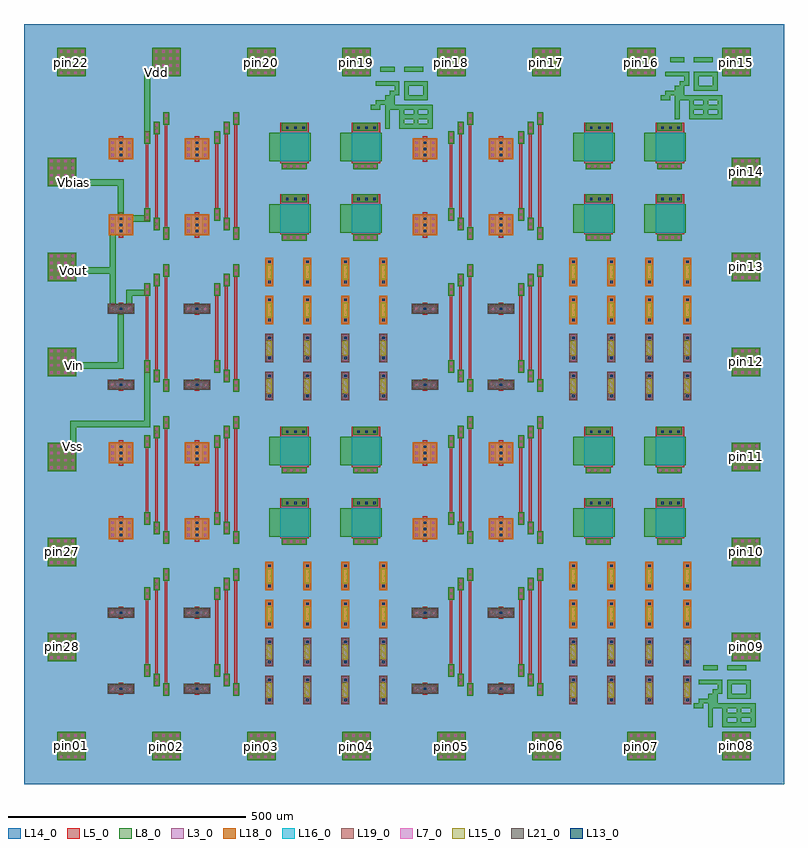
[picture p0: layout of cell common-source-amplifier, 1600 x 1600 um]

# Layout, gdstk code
from math import pi, radians
import gdstk
lib = gdstk.Library(unit=1e-6, precision=1e-09)
def R(c, l, rs):  # rectangles x0, y0, x1, y1
    for r in rs: c.add(gdstk.rectangle(r[:2], r[2:], *l))
def A(c, l, x, y, w, h, nx, ny, dx, dy):  # array of equal rectangles
    R(c, l, [(x+i*dx, y+j*dy, x+i*dx+w, y+j*dy+h) for i in range(nx) for j in range(ny)])
L3_0 = (3, 0)
L5_0 = (5, 0)
L7_0 = (7, 0)
L8_0 = (8, 0)
L13_0 = (13, 0)
L14_0 = (14, 0)
L15_0 = (15, 0)
L16_0 = (16, 0)
L18_0 = (18, 0)
L19_0 = (19, 0)
L21_0 = (21, 0)

c_16_5x5_flame = lib.new_cell('16_5x5_flame')
R(c_16_5x5_flame, L14_0, [(-800,-800,800,800), (-750,-750,750,750)])

dcont = lib.new_cell('dcont')
R(dcont, L3_0, [(-6.5,-6.5,6.5,6.5)])
R(dcont, L7_0, [(-2.5,-2.5,2.5,2.5)])
R(dcont, L8_0, [(-6.5,-6.5,6.5,6.5)])

pcont_min = lib.new_cell('pcont_min')
R(pcont_min, L5_0, [(-4.5,-6.5,4.5,6.5)])
R(pcont_min, L7_0, [(-2.5,-2.5,2.5,2.5)])
R(pcont_min, L8_0, [(-4.5,-6.5,4.5,6.5)])
R(pcont_min, L13_0, [(-2.5,-2.5,2.5,2.5)])

pch_1 = lib.new_cell('Pch$1')
R(pch_1, L3_0, [(0,17,48,57)])
R(pch_1, L18_0, [(-2,15,50,59)])
pch_1.add(gdstk.FlexPath([(6.5,17),(6.5,57)], 13, ends="flush", simple_path=True, layer=8, datatype=0))  # L8_0
pch_1.add(gdstk.FlexPath([(41.5,17),(41.5,57)], 13, ends="flush", simple_path=True, layer=8, datatype=0))  # L8_0
pch_1.add(gdstk.FlexPath([(24,17),(24,57)], 10, ends=(6.5, 6.5), simple_path=True, layer=5, datatype=0))  # L5_0
pch_1.add(gdstk.Reference(dcont, (6.5,24)))
pch_1.add(gdstk.Reference(dcont, (6.5,37)))
pch_1.add(gdstk.Reference(dcont, (6.5,50)))
pch_1.add(gdstk.Reference(dcont, (41.5,24)))
pch_1.add(gdstk.Reference(dcont, (41.5,37)))
pch_1.add(gdstk.Reference(dcont, (41.5,50)))
pch_1.add(gdstk.Reference(pcont_min, (24,24)))
pch_1.add(gdstk.Reference(pcont_min, (24,37)))
pch_1.add(gdstk.Reference(pcont_min, (24,50)))

tin_m1 = lib.new_cell('tin_M1')
R(tin_m1, L5_0, [(-7,-7,6,6)])
R(tin_m1, L7_0, [(-3,-3,2,2)])
R(tin_m1, L8_0, [(-7,-7,6,6)])

v_tin_line3 = lib.new_cell('V_tin_line3')
v_tin_line3.add(gdstk.FlexPath([(-21,74),(-21,-74)], 6, ends="extended", simple_path=True, layer=5, datatype=0))  # L5_0
v_tin_line3.add(gdstk.FlexPath([(-1,94),(-1,-94)], 6, ends="extended", simple_path=True, layer=5, datatype=0))  # L5_0
v_tin_line3.add(gdstk.FlexPath([(19,114),(19,-114)], 6, ends="extended", simple_path=True, layer=5, datatype=0))  # L5_0
r = gdstk.Reference(tin_m1, (-21,74), rotation=pi); r.repetition = gdstk.Repetition(2, 3, v1=(0,13), v2=(20,20)); v_tin_line3.add(r)
r = gdstk.Reference(tin_m1, (-21,-88), rotation=pi); r.repetition = gdstk.Repetition(2, 3, v1=(0,13), v2=(20,-20)); v_tin_line3.add(r)

pmos_array = lib.new_cell('pmos_array')
R(pmos_array, L14_0, [(-160,-160,160,160)])
r = gdstk.Reference(pch_1, (-140,-140)); r.repetition = gdstk.Repetition(2, 2, v1=(160,0), v2=(0,160)); pmos_array.add(r)
pmos_array.add(gdstk.Reference(v_tin_line3, (-40,0)))
pmos_array.add(gdstk.Reference(v_tin_line3, (107,0)))

nch_1 = lib.new_cell('Nch$1')
R(nch_1, L3_0, [(0,18.5,48,28.5)])
R(nch_1, L19_0, [(-2,15,50,32)])
R(nch_1, L21_0, [(-4,13,52,34)])
nch_1.add(gdstk.FlexPath([(6.5,17),(6.5,30)], 13, ends="flush", simple_path=True, layer=8, datatype=0))  # L8_0
nch_1.add(gdstk.FlexPath([(41.5,17),(41.5,30)], 13, ends="flush", simple_path=True, layer=8, datatype=0))  # L8_0
nch_1.add(gdstk.FlexPath([(24,17),(24,30)], 10, ends=(6.5, 6.5), simple_path=True, layer=5, datatype=0))  # L5_0
nch_1.add(gdstk.Reference(dcont, (6.5,23.5)))
nch_1.add(gdstk.Reference(dcont, (41.5,23.5)))
nch_1.add(gdstk.Reference(pcont_min, (24,23.5)))

nmos_array = lib.new_cell('nmos_array')
R(nmos_array, L14_0, [(-160,-160,160,160)])
r = gdstk.Reference(nch_1, (-140,-143)); r.repetition = gdstk.Repetition(2, 2, v1=(160,0), v2=(0,160)); nmos_array.add(r)
nmos_array.add(gdstk.Reference(v_tin_line3, (-40,0)))
nmos_array.add(gdstk.Reference(v_tin_line3, (107,0)))

via = lib.new_cell('Via')
R(via, L8_0, [(-6.5,-6.5,6.5,6.5)])
R(via, L13_0, [(-2.5,-2.5,2.5,2.5)])

r_ndiff = lib.new_cell('R_ndiff')
R(r_ndiff, L19_0, [(-2,-2,15,58)])
r_ndiff.add(gdstk.FlexPath([(6.5,0),(6.5,56)], 10, ends="flush", simple_path=True, layer=3, datatype=0))  # L3_0
r_ndiff.add(gdstk.FlexPath([(6.5,13),(6.5,43)], 10, ends="flush", simple_path=True, layer=15, datatype=0))  # L15_0
r_ndiff.add(gdstk.Reference(dcont, (6.5,6.5), rotation=pi/2))
r_ndiff.add(gdstk.Reference(via, (6.5,6.5)))
r_ndiff.add(gdstk.Reference(dcont, (6.5,49.5), rotation=pi/2))
r_ndiff.add(gdstk.Reference(via, (6.5,49.5)))

r_pdiff_1 = lib.new_cell('R_pdiff$1')
R(r_pdiff_1, L18_0, [(-2,-2,15,58)])
r_pdiff_1.add(gdstk.FlexPath([(6.5,0),(6.5,56)], 10, ends="flush", simple_path=True, layer=3, datatype=0))  # L3_0
r_pdiff_1.add(gdstk.FlexPath([(6.5,13),(6.5,43)], 10, ends="flush", simple_path=True, layer=15, datatype=0))  # L15_0
r_pdiff_1.add(gdstk.Reference(dcont, (6.5,6.5), rotation=pi/2))
r_pdiff_1.add(gdstk.Reference(via, (6.5,6.5)))
r_pdiff_1.add(gdstk.Reference(dcont, (6.5,49.5), rotation=pi/2))
r_pdiff_1.add(gdstk.Reference(via, (6.5,49.5)))

resistor_array = lib.new_cell('resistor_array')
R(resistor_array, L14_0, [(-160,-160,160,160)])
r = gdstk.Reference(r_ndiff, (-130,-150)); r.repetition = gdstk.Repetition(4, 2, v1=(80,0), v2=(0,80)); resistor_array.add(r)
r = gdstk.Reference(r_pdiff_1, (-130,10)); r.repetition = gdstk.Repetition(4, 2, v1=(80,0), v2=(0,80)); resistor_array.add(r)

pcont = lib.new_cell('pcont')
R(pcont, L5_0, [(-6.5,-6.5,6.5,6.5)])
R(pcont, L7_0, [(-2.5,-2.5,2.5,2.5)])
R(pcont, L8_0, [(-6.5,-6.5,6.5,6.5)])
R(pcont, L13_0, [(-2.5,-2.5,2.5,2.5)])

tin_cap = lib.new_cell('TIN_cap')
R(tin_cap, L5_0, [(23.5,-4,83.5,81)])
R(tin_cap, L8_0, [(0,0,87.5,60)])
R(tin_cap, L16_0, [(23.5,0,83.5,60)])
tin_cap.add(gdstk.Reference(pcont, (38.25,70.5)))
tin_cap.add(gdstk.Reference(pcont, (55.25,70.5)))
tin_cap.add(gdstk.Reference(pcont, (72.25,70.5)))

cap_con = lib.new_cell('cap_con')
R(cap_con, L8_0, [(-17,25,35,42)])
r = gdstk.Reference(tin_m1, (28,-50), rotation=pi); r.repetition = gdstk.Repetition(4, 1, v1=(-13,0), v2=(0,0)); cap_con.add(r)
cap_con.add(gdstk.Reference(tin_cap, (-44,-39)))

tin_m1_cap_array = lib.new_cell('tin_m1_cap_array')
R(tin_m1_cap_array, L14_0, [(-160,-160,160,160)])
r = gdstk.Reference(cap_con, (-80,-80)); r.repetition = gdstk.Repetition(2, 2, v1=(150,0), v2=(0,150)); tin_m1_cap_array.add(r)

base_array = lib.new_cell('base_array')
base_array.add(gdstk.Reference(pmos_array, (-160,160)))
base_array.add(gdstk.Reference(nmos_array, (-160,-160)))
base_array.add(gdstk.Reference(resistor_array, (160,-160)))
base_array.add(gdstk.Reference(tin_m1_cap_array, (160,160)))

pad_60_m1_tin = lib.new_cell('pad_60_m1_tin')
R(pad_60_m1_tin, L5_0, [(-30,-30,30,30), (-30,-30,30,30)])
R(pad_60_m1_tin, L8_0, [(-30,-30,30,30)])
r = gdstk.Reference(tin_m1, (22,-23), rotation=pi/2); r.repetition = gdstk.Repetition(4, 4, v1=(0,15), v2=(-15,0)); pad_60_m1_tin.add(r)

common_source_amplifier = lib.new_cell('common-source-amplifier')
A(common_source_amplifier, L8_0, 640, -680, 10, 10, 1, 4, 0, 20)
A(common_source_amplifier, L8_0, 670, -680, 10, 10, 7, 2, 10, 20)
A(common_source_amplifier, L8_0, 640, -670, 10, 10, 4, 2, 30, 20)
A(common_source_amplifier, L8_0, 640, -640, 10, 10, 10, 1, 10, 0)
A(common_source_amplifier, L8_0, 620, -630, 10, 10, 4, 1, 10, 0)
A(common_source_amplifier, L8_0, 680, -620, 10, 10, 5, 2, 10, 30)
A(common_source_amplifier, L8_0, 620, -590, 10, 10, 3, 1, 10, 0)
A(common_source_amplifier, L8_0, 640, -590, 10, 10, 3, 1, 10, 0)
A(common_source_amplifier, L8_0, 630, -560, 10, 10, 3, 1, 10, 0)
A(common_source_amplifier, L8_0, 680, -560, 10, 10, 4, 1, 10, 0)
A(common_source_amplifier, L8_0, -40, 580, 10, 10, 1, 4, 0, 20)
A(common_source_amplifier, L8_0, -10, 580, 10, 10, 7, 2, 10, 20)
A(common_source_amplifier, L8_0, -40, 590, 10, 10, 4, 2, 30, 20)
A(common_source_amplifier, L8_0, -40, 620, 10, 10, 10, 1, 10, 0)
A(common_source_amplifier, L8_0, -60, 630, 10, 10, 4, 1, 10, 0)
A(common_source_amplifier, L8_0, 0, 640, 10, 10, 5, 2, 10, 30)
A(common_source_amplifier, L8_0, -60, 670, 10, 10, 3, 1, 10, 0)
A(common_source_amplifier, L8_0, -40, 670, 10, 10, 3, 1, 10, 0)
A(common_source_amplifier, L8_0, -50, 700, 10, 10, 3, 1, 10, 0)
A(common_source_amplifier, L8_0, 0, 700, 10, 10, 4, 1, 10, 0)
R(common_source_amplifier, L8_0, [(610,-640,620,-630), (620,-640,630,-630), (650,-620,660,-610), (650,-610,660,-600), (660,-610,670,-600), (680,-610,690,-600), (720,-610,730,-600), (660,-600,670,-590), (680,-600,690,-590), (720,-600,730,-590), (570,600,580,610), (570,600,580,610), (600,600,610,610), (600,600,610,610), (610,600,620,610), (610,600,620,610), (620,600,630,610), (620,600,630,610), (630,600,640,610), (630,600,640,610), (640,600,650,610), (640,600,650,610), (650,600,660,610), (650,600,660,610), (660,600,670,610), (660,600,670,610), (570,610,580,620), (570,610,580,620), (600,610,610,620), (600,610,610,620), (630,610,640,620), (630,610,640,620), (660,610,670,620), (660,610,670,620), (-70,620,-60,630), (-60,620,-50,630), (570,620,580,630), (570,620,580,630), (600,620,610,630), (600,620,610,630), (610,620,620,630), (610,620,620,630), (620,620,630,630), (620,620,630,630), (630,620,640,630), (630,620,640,630), (640,620,650,630), (640,620,650,630), (650,620,660,630), (650,620,660,630), (660,620,670,630), (660,620,670,630), (570,630,580,640), (570,630,580,640), (600,630,610,640), (600,630,610,640), (630,630,640,640), (630,630,640,640), (660,630,670,640), (660,630,670,640), (-30,640,-20,650), (540,640,550,650), (540,640,550,650), (550,640,560,650), (550,640,560,650), (570,640,580,650), (570,640,580,650), (570,640,580,650), (570,640,580,650), (580,640,590,650), (580,640,590,650), (590,640,600,650), (590,640,600,650), (600,640,610,650), (600,640,610,650), (610,640,620,650), (610,640,620,650), (620,640,630,650), (620,640,630,650), (630,640,640,650), (630,640,640,650), (640,640,650,650), (640,640,650,650), (650,640,660,650), (650,640,660,650), (660,640,670,650), (660,640,670,650), (-30,650,-20,660), (-20,650,-10,660), (0,650,10,660), (40,650,50,660), (550,650,560,660), (550,650,560,660), (560,650,570,660), (560,650,570,660), (570,650,580,660), (570,650,580,660), (580,650,590,660), (580,650,590,660), (-20,660,-10,670), (0,660,10,670), (40,660,50,670), (570,660,580,670), (570,660,580,670), (580,660,590,670), (580,660,590,670), (610,660,620,670), (610,660,620,670), (620,660,630,670), (620,660,630,670), (630,660,640,670), (630,660,640,670), (640,660,650,670), (640,660,650,670), (650,660,660,670), (650,660,660,670), (580,670,590,680), (580,670,590,680), (590,670,600,680), (590,670,600,680), (610,670,620,680), (610,670,620,680), (650,670,660,680), (650,670,660,680), (590,680,600,690), (590,680,600,690), (610,680,620,690), (610,680,620,690), (650,680,660,690), (650,680,660,690), (550,690,560,700), (550,690,560,700), (560,690,570,700), (560,690,570,700), (570,690,580,700), (570,690,580,700), (570,690,580,700), (570,690,580,700), (580,690,590,700), (580,690,590,700), (590,690,600,700), (590,690,600,700), (610,690,620,700), (610,690,620,700), (620,690,630,700), (620,690,630,700), (630,690,640,700), (630,690,640,700), (640,690,650,700), (640,690,650,700), (650,690,660,700), (650,690,660,700), (560,720,570,730), (560,720,570,730), (570,720,580,730), (570,720,580,730), (580,720,590,730), (580,720,590,730), (610,720,620,730), (610,720,620,730), (620,720,630,730), (620,720,630,730), (630,720,640,730), (630,720,640,730), (640,720,650,730), (640,720,650,730)])
common_source_amplifier.add(gdstk.FlexPath([(-579,390.5),(-534,390.5)], 13, ends="flush", simple_path=True, layer=8, datatype=0))  # L8_0
common_source_amplifier.add(gdstk.FlexPath([(-540.5,561),(-540.5,696.5),(-514.5,696.5)], 13, ends="flush", simple_path=True, layer=8, datatype=0))  # L8_0
common_source_amplifier.add(gdstk.FlexPath([(-703,466.5),(-596,466.5),(-596,382.5)], 13, ends="flush", simple_path=True, layer=8, datatype=0))  # L8_0
common_source_amplifier.add(gdstk.FlexPath([(-578.5,200),(-578.5,234.5),(-545.5,234.5),(-535.5,234.5)], 13, ends="flush", simple_path=True, layer=8, datatype=0))  # L8_0
common_source_amplifier.add(gdstk.FlexPath([(-540.5,72),(-540.5,59),(-540.5,-42),(-696.5,-42),(-696.5,-95)], 13, ends="flush", simple_path=True, layer=8, datatype=0))  # L8_0
common_source_amplifier.add(gdstk.FlexPath([(-613.5,363),(-613.5,194)], 13, ends="flush", simple_path=True, layer=8, datatype=0))  # L8_0
common_source_amplifier.add(gdstk.FlexPath([(-596,203),(-596,81),(-698,81)], 13, ends="flush", simple_path=True, layer=8, datatype=0))  # L8_0
common_source_amplifier.add(gdstk.FlexPath([(-698,281),(-609,281)], 13, ends="flush", simple_path=True, layer=8, datatype=0))  # L8_0
common_source_amplifier.add(gdstk.Reference(c_16_5x5_flame, (0,0)))
r = gdstk.Reference(base_array, (-320,-320)); r.repetition = gdstk.Repetition(2, 2, v1=(640,0), v2=(0,640)); common_source_amplifier.add(r)
r = gdstk.Reference(pad_60_m1_tin, (700,720), rotation=pi/2); r.repetition = gdstk.Repetition(1, 8, v1=(0,0), v2=(-200,0)); common_source_amplifier.add(r)
r = gdstk.Reference(pad_60_m1_tin, (700,-720), rotation=pi/2); r.repetition = gdstk.Repetition(1, 8, v1=(0,0), v2=(-200,0)); common_source_amplifier.add(r)
r = gdstk.Reference(pad_60_m1_tin, (-720,488), rotation=pi); r.repetition = gdstk.Repetition(1, 6, v1=(0,0), v2=(0,-200)); common_source_amplifier.add(r)
r = gdstk.Reference(pad_60_m1_tin, (720,488), rotation=pi); r.repetition = gdstk.Repetition(1, 6, v1=(0,0), v2=(0,-200)); common_source_amplifier.add(r)
common_source_amplifier.add(gdstk.Label('Vbias', (-695,466), layer=8, texttype=0))
common_source_amplifier.add(gdstk.Label('Vdd', (-522,697.5), layer=8, texttype=0))
common_source_amplifier.add(gdstk.Label('Vout', (-695,281.5), layer=8, texttype=0))
common_source_amplifier.add(gdstk.Label('Vin', (-694.5,81.5), layer=8, texttype=0))
common_source_amplifier.add(gdstk.Label('Vss', (-697,-89), layer=8, texttype=0))
common_source_amplifier.add(gdstk.Label('pin01', (-699,-719.5), layer=8, texttype=0))
common_source_amplifier.add(gdstk.Label('pin02', (-499,-720), layer=8, texttype=0))
common_source_amplifier.add(gdstk.Label('pin03', (-299,-720), layer=8, texttype=0))
common_source_amplifier.add(gdstk.Label('pin04', (-99,-720), layer=8, texttype=0))
common_source_amplifier.add(gdstk.Label('pin05', (101,-720), layer=8, texttype=0))
common_source_amplifier.add(gdstk.Label('pin06', (301,-719.5), layer=8, texttype=0))
common_source_amplifier.add(gdstk.Label('pin07', (501,-720), layer=8, texttype=0))
common_source_amplifier.add(gdstk.Label('pin08', (701,-719.5), layer=8, texttype=0))
common_source_amplifier.add(gdstk.Label('pin09', (720.5,-511), layer=8, texttype=0))
common_source_amplifier.add(gdstk.Label('pin10', (720,-311), layer=8, texttype=0))
common_source_amplifier.add(gdstk.Label('pin11', (720,-111), layer=8, texttype=0))
common_source_amplifier.add(gdstk.Label('pin12', (720,89), layer=8, texttype=0))
common_source_amplifier.add(gdstk.Label('pin13', (720,289), layer=8, texttype=0))
common_source_amplifier.add(gdstk.Label('pin14', (720,489), layer=8, texttype=0))
common_source_amplifier.add(gdstk.Label('pin15', (701,720), layer=8, texttype=0))
common_source_amplifier.add(gdstk.Label('pin16', (501,720), layer=8, texttype=0))
common_source_amplifier.add(gdstk.Label('pin17', (301,720), layer=8, texttype=0))
common_source_amplifier.add(gdstk.Label('pin18', (101,720), layer=8, texttype=0))
common_source_amplifier.add(gdstk.Label('pin19', (-99,720), layer=8, texttype=0))
common_source_amplifier.add(gdstk.Label('pin20', (-299,720), layer=8, texttype=0))
common_source_amplifier.add(gdstk.Label('pin21', (-499,720), layer=8, texttype=0))
common_source_amplifier.add(gdstk.Label('pin22', (-699,720), layer=8, texttype=0))
common_source_amplifier.add(gdstk.Label('pin23', (-720,489), layer=8, texttype=0))
common_source_amplifier.add(gdstk.Label('pin24', (-720,289), layer=8, texttype=0))
common_source_amplifier.add(gdstk.Label('pin25', (-720,89), layer=8, texttype=0))
common_source_amplifier.add(gdstk.Label('pin26', (-720,-111), layer=8, texttype=0))
common_source_amplifier.add(gdstk.Label('pin27', (-720,-311), layer=8, texttype=0))
common_source_amplifier.add(gdstk.Label('pin28', (-720,-511), layer=8, texttype=0))

lib.write_gds('common-source-amplifier.gds')
